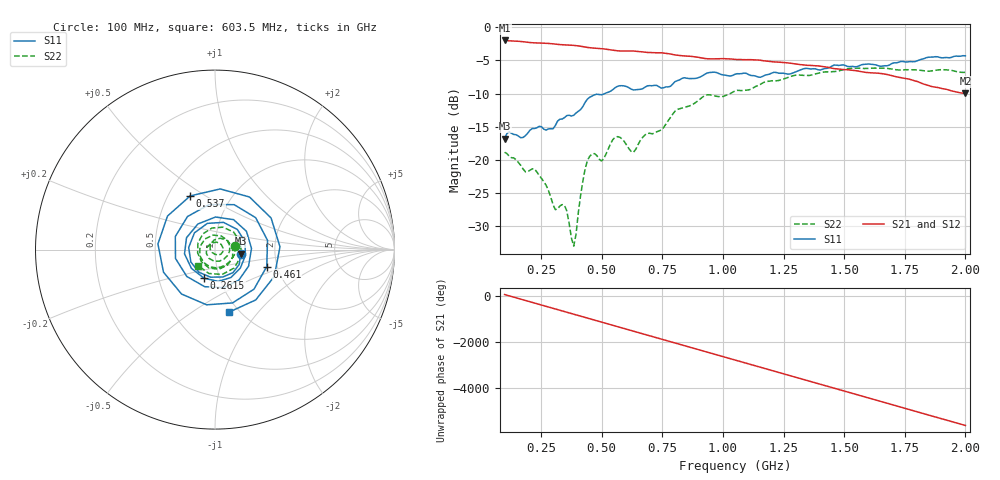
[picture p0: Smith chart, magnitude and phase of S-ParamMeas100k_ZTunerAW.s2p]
!Keysight Technologies,N5242B,MY48420967,A.15.65.19
!Date: Monday, December 19, 2022 11:32:21
!Correction: S11(C  2-Port  )
!S21(C  2-Port  )
!S12(C  2-Port  )
!S22(C  2-Port  )
!S2P File: Measurements: S11, S21, S12, S22:
# Hz S  dB  R 50
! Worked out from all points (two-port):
!   201 points, 100 MHz to 2 GHz, reference 50 ohm
!   highest |S21| = -2.00 dB at 100 MHz (marker M1); lowest = -10.0 dB at 2 GHz (marker M2)
!   |S21| within 3 dB of the highest: start of sweep to 1.158 GHz
!   lowest |S11| = -16.8 dB at 100 MHz (marker M3), VSWR 1.34, Z = 66.6 - j3.09 ohm
!   |S11| at or under -10 dB: start of sweep to 512.9 MHz
!   |S22| runs from -33.0 to -6.2 dB; largest |S21 - S12| = 0.00041
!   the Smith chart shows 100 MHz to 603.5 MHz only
!   S11 on the Smith chart (normalised r, x): 100 MHz: 1.33, -0.06; 261.5 MHz: 0.84, -0.28; 461 MHz: 1.76, -0.37; 537 MHz: 0.64, +0.43; 603.5 MHz: 0.90, -0.72
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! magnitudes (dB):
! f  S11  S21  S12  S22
! 100 MHz  -16.8  -2.0  -2.0  -18.8
! 119 MHz  -15.8  -2.1  -2.1  -19.4
! 166.5 MHz  -16.7  -2.1  -2.2  -20.8
! 261.5 MHz  -15.4  -2.4  -2.4  -23.3
! 309 MHz  -14.8  -2.5  -2.5  -27.5
! 347 MHz  -13.6  -2.7  -2.7  -26.9
! 385 MHz  -13.3  -2.7  -2.7  -33.0
! 423 MHz  -11.9  -2.9  -2.9  -23.1
! 442 MHz  -10.8  -3.1  -3.1  -20.0
! 461 MHz  -10.4  -3.1  -3.1  -19.1
! 499 MHz  -10.2  -3.2  -3.2  -20.1
! 537 MHz  -9.6  -3.4  -3.4  -17.5
! 565.5 MHz  -8.9  -3.6  -3.6  -16.5
! 603.5 MHz  -8.9  -3.6  -3.6  -17.8
! 632 MHz  -9.5  -3.6  -3.6  -18.8
! 679.5 MHz  -9.0  -3.8  -3.8  -16.2
! 736.5 MHz  -9.0  -3.9  -3.9  -15.6
! 812.5 MHz  -8.0  -4.2  -4.2  -12.4
! 1.05 GHz  -7.1  -4.9  -4.9  -9.6
! 1.373 GHz  -6.3  -5.8  -5.8  -7.1
! 1.687 GHz  -5.7  -7.2  -7.2  -6.2
! 2 GHz  -4.3  -10.0  -10.0  -6.8
